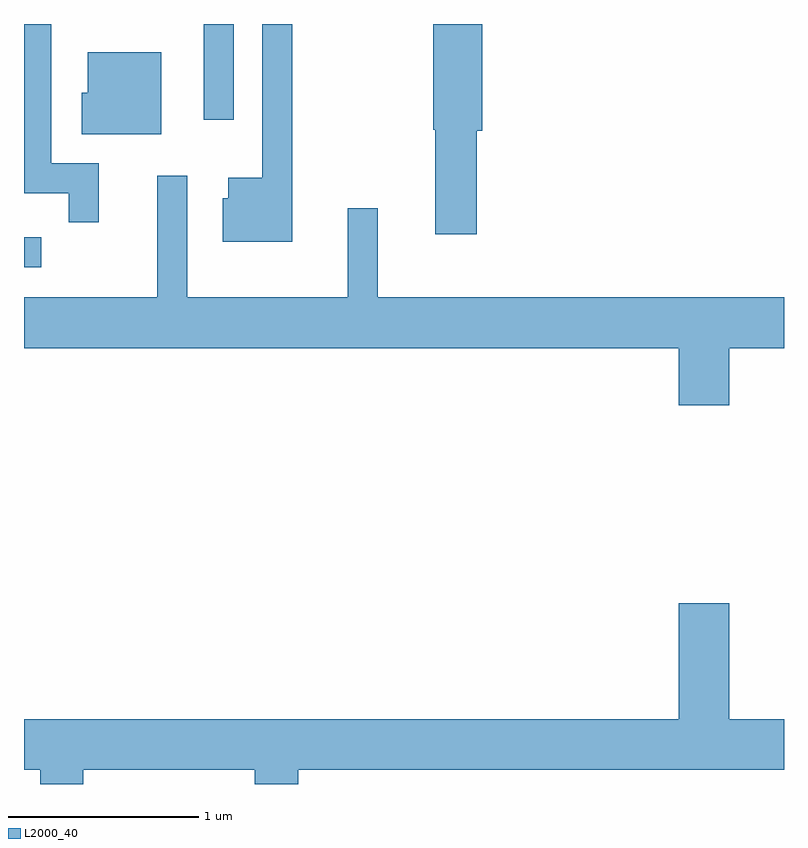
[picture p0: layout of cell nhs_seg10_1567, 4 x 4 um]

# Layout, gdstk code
import gdstk
lib = gdstk.Library(unit=1e-6, precision=1e-09)
def R(c, l, rs):  # rectangles x0, y0, x1, y1
    for r in rs: c.add(gdstk.rectangle(r[:2], r[2:], *l))
def P(c, l, *ps):  # polygons
    for p in ps: c.add(gdstk.Polygon(p, *l))
L2000_40 = (2000, 40)

nhs_seg10_1567 = lib.new_cell('nhs_seg10_1567')
R(nhs_seg10_1567, L2000_40, [(231.611,2103.241,231.703,2103.399), (232.556,2104.018,232.714,2104.522)])
P(nhs_seg10_1567, L2000_40, [(233.994,2103.961),(234.024,2103.961),(234.024,2104.522),(233.766,2104.522),(233.766,2103.965),(233.776,2103.965),(233.776,2103.416),(233.994,2103.416)],
  [(232.004,2103.789),(231.754,2103.789),(231.754,2104.522),(231.611,2104.522),(231.611,2103.631),(231.846,2103.631),(231.846,2103.478),(232.004,2103.478)],
  [(233.024,2104.522),(232.866,2104.522),(232.866,2103.714),(232.686,2103.714),(232.686,2103.604),(232.656,2103.604),(232.656,2103.376),(233.024,2103.376)],
  [(232.334,2104.374),(231.946,2104.374),(231.946,2104.159),(231.916,2104.159),(231.916,2103.941),(232.334,2103.941)],
  [(235.324,2102.816),(235.611,2102.816),(235.611,2103.084),(233.474,2103.084),(233.474,2103.553),(233.316,2103.553),(233.316,2103.084),(232.469,2103.084),(232.469,2103.723),(232.311,2103.723),(232.311,2103.084),(231.611,2103.084),(231.611,2102.816),(235.056,2102.816),(235.056,2102.516),(235.324,2102.516)],
  [(231.924,2100.596),(232.826,2100.596),(232.826,2100.522),(233.054,2100.522),(233.054,2100.596),(235.611,2100.596),(235.611,2100.864),(235.324,2100.864),(235.324,2101.474),(235.056,2101.474),(235.056,2100.864),(231.611,2100.864),(231.611,2100.596),(231.696,2100.596),(231.696,2100.522),(231.924,2100.522)])

lib.write_gds('nhs_seg10_1567.gds')
